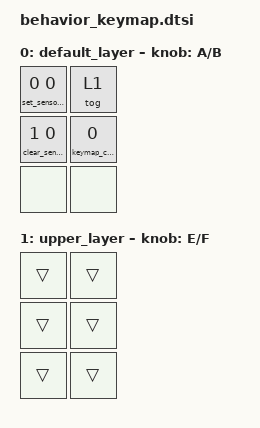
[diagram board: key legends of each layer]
#include <dt-bindings/zmk/keys.h>
#include <behaviors.dtsi>
#include <dt-bindings/zmk/kscan_mock.h>

/ {
    behaviors {
        set_sensor_binding: set_sensor_binding {
            compatible = "zmk,behavior-set-layer-sensor-binding";
            #binding-cells = <2>;
            sensor-bindings = <&inc_dec_kp C D>;
        };

        clear_sensor_binding: clear_sensor_binding {
            compatible = "zmk,behavior-set-layer-sensor-binding";
            #binding-cells = <2>;
            sensor-bindings = <&inc_dec_kp C D>;
            clear;
        };

        keymap_changes: keymap_changes {
            compatible = "zmk,behavior-keymap-changes";
            #binding-cells = <1>;
        };

        set_binding: set_binding {
            compatible = "zmk,behavior-set-layer-binding-at-idx";
            #binding-cells = <2>;
            bindings = <&kp G>;
        };
    };

    keymap {
        compatible = "zmk,keymap";

        default_layer: default_layer {
            bindings = <
                &set_sensor_binding 0 0 &tog 1
                &clear_sensor_binding 1 0 &keymap_changes 0
                &none &none
            >;
            sensor-bindings = <&inc_dec_kp A B>;
        };

        upper_layer {
            bindings = <
                &trans &trans
                &trans &trans
                &trans &trans
            >;
            sensor-bindings = <&inc_dec_kp E F>;
        };
    };

    mock_encoder: mock_encoder {
        compatible = "zmk,sensor-encoder-mock";
        status = "okay";
        event-startup-delay = <200>;
        event-period = <200>;
    };

    sensors: sensors {
        compatible = "zmk,keymap-sensors";
        sensors = <&mock_encoder>;
        triggers-per-rotation = <20>;
    };
};

// Row 2 holds &none keys, used as no-op events to wait before acting. Each mock event fires
// after the previous event's delay, and the test ends after the last event.
// &keymap_changes takes 0 to discard, 1 to save, 2 to reset settings, or 3 to store stale
// key and sensor settings.
&kscan {
    rows = <3>;
    columns = <2>;
};
